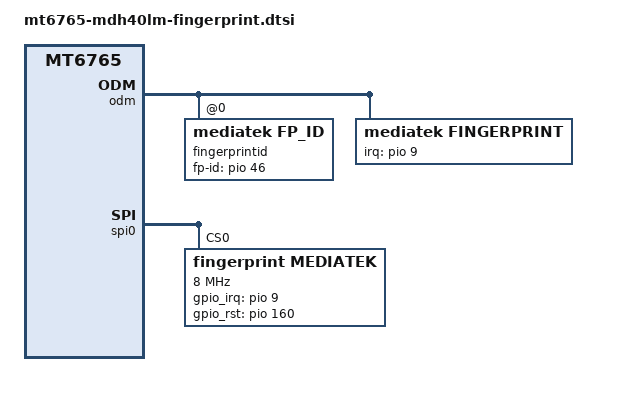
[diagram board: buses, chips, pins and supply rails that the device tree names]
/*
 * LG Electronics MT6765 HDK fingerprint device tree source
 *
 * Copyright (c) 2018 LG Electronics Co., Ltd.
 *              http://www.lge.com
 *
 */

/* FINGERPRINT start */
&goodix_fp {
	status = "disabled";
};

&odm {
	fingerprintid: fingerprintid@0 {
		compatible = "mediatek,fp_id";
		fp-id-gpios = <&pio 46 0>;
	};

	fingerprint:fingerprint {
		compatible = "mediatek,fingerprint";
		debounce = <8 0>;
		interrupt-parent = <&pio>;
		interrupts = <9 IRQ_TYPE_EDGE_RISING 9 0>;
		pinctrl-names =
			"fingerprint_default",
			"fingerprint_irq",
			"fingerprint_rst_low",
			"fingerprint_rst_high"
			;

		pinctrl-0 = <&fingerprint_pctl_default>;
		pinctrl-1 = <&fingerprint_pctl_irq>;
		pinctrl-2 = <&fingerprint_pctl_rst_low>;
		pinctrl-3 = <&fingerprint_pctl_rst_high>;
	};
};

&spi0 {
	#address-cells = <1>;
	#size-cells = <0>;
	fingerprint@0 {
		status = "okay";
		compatible = "fingerprint,mediatek";
		reg = <0>;
		spi-bus-num = <0>;
		spi-max-frequency = <8000000>;

		vdd_ldo_enable = <0>;
		vio_ldo_enable = <0>;
		config_spi_pin = <0>;

		fpc,gpio_irq = <&pio 9 0x0>;
		fpc,gpio_rst = <&pio 160 0x0>;
		fpc,enable-wakeup;
	};
};

&pio {
	fingerprint_pctl_default:fingerprint_default1 {

	};

	fingerprint_pctl_irq:fingerprint_pin_irq {
		pins_cmd_dat {
			pinmux = <PINMUX_GPIO9__FUNC_GPIO9>;
			slew-rate = <0>;
			bias-pull-down;
		};
	};

	fingerprint_pctl_rst_low:fingerprint_pin_rst_low {
		pins_cmd_dat {
			pinmux = <PINMUX_GPIO160__FUNC_GPIO160>;
			slew-rate = <1>;
			bias-disable;
			output-low;
		};
	};

	fingerprint_pctl_rst_high:fingerprint_pin_rst_high {
		pins_cmd_dat {
			pinmux = <PINMUX_GPIO160__FUNC_GPIO160>;
			slew-rate = <1>;
			bias-disable;
			output-high;
		};
	};
};

&mt6370_pmu {
	ldo {
		mt6370_ldo {
			regulator-min-microvolt = <2800000>;
			regulator-max-microvolt = <2800000>;
			regulator-always-on;
		};
	};
};
/* FINGERPRINT end */
